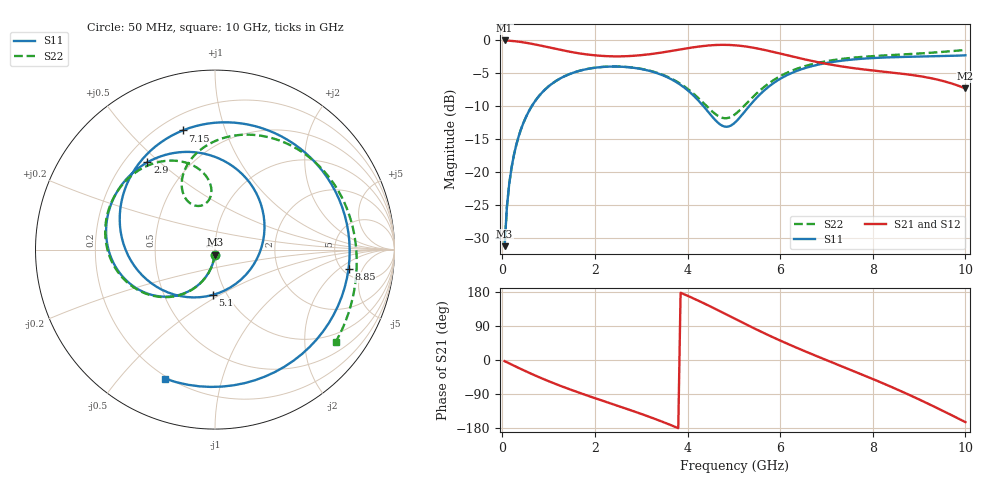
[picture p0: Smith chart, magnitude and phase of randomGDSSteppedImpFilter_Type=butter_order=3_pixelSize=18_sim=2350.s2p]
! freq	dB(S11)	phase(S11)	dB(S12)	phase(S12)
!  dB(S21)	phase(S21)	dB(S22)	phase(S22)
!S-par simulation data
#  GHz  S  DB  R 50
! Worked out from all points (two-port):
!   200 points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, 50 MHz to 10 GHz, reference 50 ohm
!   highest |S21| = -0.01 dB at 50 MHz (marker M1); lowest = -7.3 dB at 10 GHz (marker M2)
!   |S21| within 3 dB of the highest: start of sweep to 6.614 GHz
!   lowest |S11| = -31.2 dB at 50 MHz (marker M3), VSWR 1.06, Z = 49.8 - j2.73 ohm
!   |S11| at or under -10 dB: start of sweep to 635.1 MHz; 4.345 GHz to 5.329 GHz (984 MHz wide, 20.3 % of centre)
!   |S22| runs from -31.2 to -1.4 dB; largest |S21 - S12| = 0
!   S11 on the Smith chart (normalised r, x): 50 MHz: 1.00, -0.05; 2.9 GHz: 0.29, +0.46; 5.1 GHz: 0.86, -0.46; 7.15 GHz: 0.29, +0.72; 8.85 GHz: 5.66, -2.77; 10 GHz: 0.19, -0.67
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0.05  -31.23 -93.1  -0.01 -3.0  -0.01 -3.0  -31.23 -93.1
0.1  -25.23 -96.3  -0.02 -6.0  -0.02 -6.0  -25.23 -96.3
0.2  -19.31 -102.5  -0.07 -12.0  -0.07 -12.0  -19.31 -102.4
0.5  -11.80 -120.1  -0.34 -29.3  -0.34 -29.3  -11.80 -119.8
1.05  -6.69 -149.3  -1.13 -58.4  -1.13 -58.4  -6.69 -148.5
1.75  -4.46 178.3  -2.06 -90.2  -2.06 -90.2  -4.46 -179.7
2.3  -3.98 154.6  -2.40 -113.0  -2.40 -113.0  -3.97 158.5
2.9  -4.22 127.7  -2.30 -137.9  -2.30 -137.9  -4.19 135.9
3.4  -5.11 102.1  -1.88 -160.2  -1.88 -160.2  -5.05 117.6
4.3  -9.63 34.7  -0.88 152.7  -0.88 152.7  -9.20 93.6
4.75  -12.95 -30.4  -0.67 125.7  -0.67 125.7  -11.75 103.4
5.05  -12.30 -85.1  -0.75 107.2  -0.75 107.2  -11.08 116.5
5.1  -11.93 -93.1  -0.79 104.1  -0.79 104.1  -10.77 117.8
5.5  -8.65 -142.5  -1.21 79.9  -1.21 79.9  -7.99 117.7
5.95  -6.04 180.0  -1.91 54.1  -1.91 54.1  -5.63 104.5
6.7  -3.88 131.6  -3.14 14.7  -3.14 14.7  -3.59 75.5
7.15  -3.25 105.2  -3.74 -7.7  -3.74 -7.7  -2.98 57.8
7.75  -2.79 69.1  -4.36 -37.5  -4.36 -37.5  -2.51 35.2
8.35  -2.57 29.4  -4.83 -68.3  -4.83 -68.3  -2.24 14.1
8.85  -2.48 -8.2  -5.25 -95.5  -5.25 -95.5  -2.05 -2.3
9.5  -2.39 -63.9  -6.13 -133.4  -6.13 -133.4  -1.74 -22.4
10  -2.26 -111.0  -7.28 -163.8  -7.28 -163.8  -1.45 -37.4
